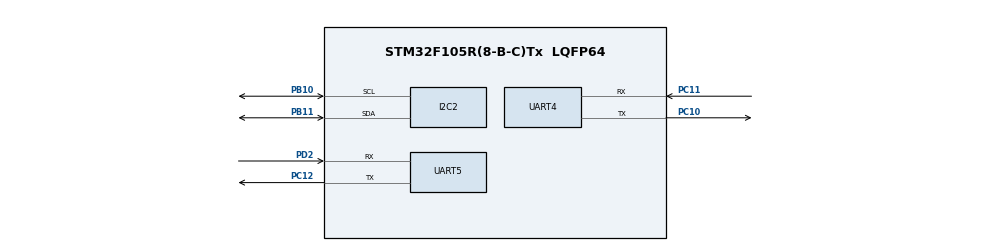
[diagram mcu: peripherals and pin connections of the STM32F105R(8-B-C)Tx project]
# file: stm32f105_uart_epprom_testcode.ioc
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Dma.Request0=UART4_RX
Dma.UART4_RX.0.Direction=DMA_PERIPH_TO_MEMORY
Dma.UART4_RX.0.Instance=DMA2_Channel3
Dma.UART4_RX.0.MemDataAlignment=DMA_MDATAALIGN_BYTE
Dma.UART4_RX.0.MemInc=DMA_MINC_ENABLE
Dma.UART4_RX.0.Mode=DMA_NORMAL
Dma.UART4_RX.0.PeriphDataAlignment=DMA_PDATAALIGN_BYTE
Dma.UART4_RX.0.PeriphInc=DMA_PINC_DISABLE
Dma.UART4_RX.0.Priority=DMA_PRIORITY_LOW
I2C2.I2C_Mode=I2C_Fast
Mcu.Family=STM32F1
Mcu.Name=STM32F105R(8-B-C)Tx
Mcu.Package=LQFP64
NVIC.DMA2_Channel3_IRQn=true\:0\:0\:false\:false\:true\:false\:true\:true
NVIC.PriorityGroup=NVIC_PRIORITYGROUP_4
NVIC.UART4_IRQn=true\:0\:0\:false\:false\:true\:true\:true\:true
NVIC.UART5_IRQn=true\:0\:0\:false\:false\:true\:true\:true\:true
PA13.Mode=Serial_Wire
PA13.Signal=SYS_JTMS-SWDIO
PA14.Mode=Serial_Wire
PA14.Signal=SYS_JTCK-SWCLK
PB10.Mode=I2C
PB10.Signal=I2C2_SCL
PB11.Mode=I2C
PB11.Signal=I2C2_SDA
PC10.Mode=Asynchronous
PC10.Signal=UART4_TX
PC11.Mode=Asynchronous
PC11.Signal=UART4_RX
PC12.Mode=Asynchronous
PC12.Signal=UART5_TX
PC14-OSC32_IN.Mode=LSE-External-Oscillator
PC14-OSC32_IN.Signal=RCC_OSC32_IN
PC15-OSC32_OUT.Mode=LSE-External-Oscillator
PC15-OSC32_OUT.Signal=RCC_OSC32_OUT
PD0-OSC_IN.Mode=HSE-External-Oscillator
PD0-OSC_IN.Signal=RCC_OSC_IN
PD1-OSC_OUT.Mode=HSE-External-Oscillator
PD1-OSC_OUT.Signal=RCC_OSC_OUT
PD2.Mode=Asynchronous
PD2.Signal=UART5_RX
ProjectManager.HeapSize=0x200
ProjectManager.StackSize=0x400
ProjectManager.TargetToolchain=STM32CubeIDE
RCC.USBFreq_Value=10666666.666666666
UART4.VirtualMode=Asynchronous
UART5.VirtualMode=Asynchronous
board=custom

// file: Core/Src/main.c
/* USER CODE BEGIN Header */
/**
 ******************************************************************************
 * @file           : main.c
 * @brief          : Main program body
 ******************************************************************************
 * @attention
 *
 * Copyright (c) 2023 STMicroelectronics.
 * All rights reserved.
 *
 * This software is licensed under terms that can be found in the LICENSE file
 * in the root directory of this software component.
 * If no LICENSE file comes with this software, it is provided AS-IS.
 *
 ******************************************************************************
 */
/* USER CODE END Header */
#include "main.h"

/* USER CODE BEGIN Includes */
#include <stdio.h>
#include <stdbool.h>
#include <string.h>
#include "EEPROM.h"
#include <stdlib.h>
#include <math.h>
/* USER CODE END Includes */

/* USER CODE BEGIN PTD */
// EEPROM
#define DEV_ADDR 0xA0
uint8_t dataWrite[4]={0,0,0,0};
uint8_t dataRead[4]={0,0,0,0};
/* USER CODE END PTD */

/* USER CODE BEGIN PD */
bool iceCreamMode = 0;
bool waitMode = 0;
bool cleanMode = 0;
bool heatMode = 0;

char txdata[8];
char txdatanew[8];

uint8_t final_data[8]={0,0,0,0,0,0,0,0};

char TxData;
uint8_t rxBuf[8];
uint8_t rxindex = 0;
uint8_t rxindex_2 = 0;

char txdatanew[8];
uint8_t Buf_1ch[1];
uint8_t len=0;

uint64_t currentTime = 0;
uint64_t previousTime = 0;

/* USER CODE END PD */

I2C_HandleTypeDef hi2c2;

UART_HandleTypeDef huart4;
UART_HandleTypeDef huart5;
DMA_HandleTypeDef hdma_uart4_rx;

/* USER CODE BEGIN PV */

// UART COMM. ILE VERİ GONDERME FONKSIYONU
void sendData(char *data) {
	len = sizeof(txdata) / sizeof(txdata[0]);
	for (int i = 0; i < len; i++) {
		txdata[i] = data[i];
	}
	sprintf(txdatanew, "%s",txdata);
	HAL_UART_Transmit(&huart5, (uint8_t*)&txdatanew, 8, 500);
}

void HAL_UART_RxCpltCallback(UART_HandleTypeDef *huart) {
	if (huart == &huart4) {
		previousTime = currentTime;
		rxBuf[rxindex] = Buf_1ch[0];
		final_data[rxindex] = rxBuf[rxindex];
		rxindex++;

		HAL_UART_Receive_DMA(&huart4, Buf_1ch, 1);
		if (rxindex >= 8) {
			rxindex = 0;
		}
	}
}

/* USER CODE END PV */

void SystemClock_Config(void);
static void MX_GPIO_Init(void);
static void MX_DMA_Init(void);
static void MX_I2C2_Init(void);
static void MX_UART4_Init(void);
static void MX_UART5_Init(void);

int main(void)
{

	/* MCU Configuration--------------------------------------------------------*/

	/* Reset of all peripherals, Initializes the Flash interface and the Systick. */
	HAL_Init();

	/* Configure the system clock */
	SystemClock_Config();

	/* Initialize all configured peripherals */
	MX_GPIO_Init();
	MX_DMA_Init();
	MX_I2C2_Init();
	MX_UART4_Init();
	MX_UART5_Init();
	/* USER CODE BEGIN 2 */
	HAL_UART_Receive_DMA(&huart4, Buf_1ch, 1); // dmayı tekrar kurduk yine alabilsin diye
	__HAL_DMA_DISABLE_IT(&hdma_uart4_rx, DMA_IT_HT);

	//EEPROM
	HAL_Delay(100);
	HAL_I2C_Mem_Read(&hi2c2, DEV_ADDR, 0, 8, dataRead, 4, 20);
	HAL_Delay(100);
	//EEPROM
	int flag = 0;
	/* USER CODE END 2 */

	/* Infinite loop */
	while (1)
	{

		/* USER CODE BEGIN 3 */
		sendData("52052050");
		HAL_Delay(1000);
		sendData("77777777");
		HAL_Delay(1000);
		sendData("22222222");
		dataWrite[0]=1;
		dataWrite[1]=2;
		dataWrite[2]=3;
		dataWrite[3]=4;
		HAL_I2C_Mem_Write(&hi2c2, DEV_ADDR, 0, 8, dataWrite, 4, 20);
		HAL_Delay(1000);

		if(flag == 0){
			HAL_Delay(100);
			HAL_I2C_Mem_Read(&hi2c2, DEV_ADDR, 0, 8, dataRead, 4, 20);
			HAL_Delay(100);

			flag = 1;
		}
	}
	/* USER CODE END 3 */
}

void SystemClock_Config(void)
{
	RCC_OscInitTypeDef RCC_OscInitStruct = {0};
	RCC_ClkInitTypeDef RCC_ClkInitStruct = {0};

	/** Initializes the RCC Oscillators according to the specified parameters
	 * in the RCC_OscInitTypeDef structure.
	 */
	RCC_OscInitStruct.OscillatorType = RCC_OSCILLATORTYPE_HSI;
	RCC_OscInitStruct.HSIState = RCC_HSI_ON;
	RCC_OscInitStruct.HSICalibrationValue = RCC_HSICALIBRATION_DEFAULT;
	RCC_OscInitStruct.PLL.PLLState = RCC_PLL_NONE;
	RCC_OscInitStruct.PLL2.PLL2State = RCC_PLL_NONE;
	if (HAL_RCC_OscConfig(&RCC_OscInitStruct) != HAL_OK)
	{
		Error_Handler();
	}

	/** Initializes the CPU, AHB and APB buses clocks
	 */
	RCC_ClkInitStruct.ClockType = RCC_CLOCKTYPE_HCLK|RCC_CLOCKTYPE_SYSCLK
			|RCC_CLOCKTYPE_PCLK1|RCC_CLOCKTYPE_PCLK2;
	RCC_ClkInitStruct.SYSCLKSource = RCC_SYSCLKSOURCE_HSI;
	RCC_ClkInitStruct.AHBCLKDivider = RCC_SYSCLK_DIV1;
	RCC_ClkInitStruct.APB1CLKDivider = RCC_HCLK_DIV1;
	RCC_ClkInitStruct.APB2CLKDivider = RCC_HCLK_DIV1;

	if (HAL_RCC_ClockConfig(&RCC_ClkInitStruct, FLASH_LATENCY_0) != HAL_OK)
	{
		Error_Handler();
	}

	/** Configure the Systick interrupt time
	 */
	__HAL_RCC_PLLI2S_ENABLE();
}

static void MX_I2C2_Init(void)
{

	hi2c2.Instance = I2C2;
	hi2c2.Init.ClockSpeed = 400000;
	hi2c2.Init.DutyCycle = I2C_DUTYCYCLE_2;
	hi2c2.Init.OwnAddress1 = 0;
	hi2c2.Init.AddressingMode = I2C_ADDRESSINGMODE_7BIT;
	hi2c2.Init.DualAddressMode = I2C_DUALADDRESS_DISABLE;
	hi2c2.Init.OwnAddress2 = 0;
	hi2c2.Init.GeneralCallMode = I2C_GENERALCALL_DISABLE;
	hi2c2.Init.NoStretchMode = I2C_NOSTRETCH_DISABLE;
	if (HAL_I2C_Init(&hi2c2) != HAL_OK)
	{
		Error_Handler();
	}

}

static void MX_UART4_Init(void)
{

	huart4.Instance = UART4;
	huart4.Init.BaudRate = 115200;
	huart4.Init.WordLength = UART_WORDLENGTH_8B;
	huart4.Init.StopBits = UART_STOPBITS_1;
	huart4.Init.Parity = UART_PARITY_NONE;
	huart4.Init.Mode = UART_MODE_TX_RX;
	huart4.Init.HwFlowCtl = UART_HWCONTROL_NONE;
	huart4.Init.OverSampling = UART_OVERSAMPLING_16;
	if (HAL_UART_Init(&huart4) != HAL_OK)
	{
		Error_Handler();
	}

}

static void MX_UART5_Init(void)
{

	huart5.Instance = UART5;
	huart5.Init.BaudRate = 115200;
	huart5.Init.WordLength = UART_WORDLENGTH_8B;
	huart5.Init.StopBits = UART_STOPBITS_1;
	huart5.Init.Parity = UART_PARITY_NONE;
	huart5.Init.Mode = UART_MODE_TX_RX;
	huart5.Init.HwFlowCtl = UART_HWCONTROL_NONE;
	huart5.Init.OverSampling = UART_OVERSAMPLING_16;
	if (HAL_UART_Init(&huart5) != HAL_OK)
	{
		Error_Handler();
	}

}

static void MX_DMA_Init(void)
{

	/* DMA controller clock enable */
	__HAL_RCC_DMA2_CLK_ENABLE();

	/* DMA interrupt init */
	/* DMA2_Channel3_IRQn interrupt configuration */
	HAL_NVIC_SetPriority(DMA2_Channel3_IRQn, 0, 0);
	HAL_NVIC_EnableIRQ(DMA2_Channel3_IRQn);

}

static void MX_GPIO_Init(void)
{

	/* GPIO Ports Clock Enable */
	__HAL_RCC_GPIOC_CLK_ENABLE();
	__HAL_RCC_GPIOD_CLK_ENABLE();
	__HAL_RCC_GPIOB_CLK_ENABLE();
	__HAL_RCC_GPIOA_CLK_ENABLE();

}

void Error_Handler(void)
{
	__disable_irq();
	while (1)
	{
	}
}
